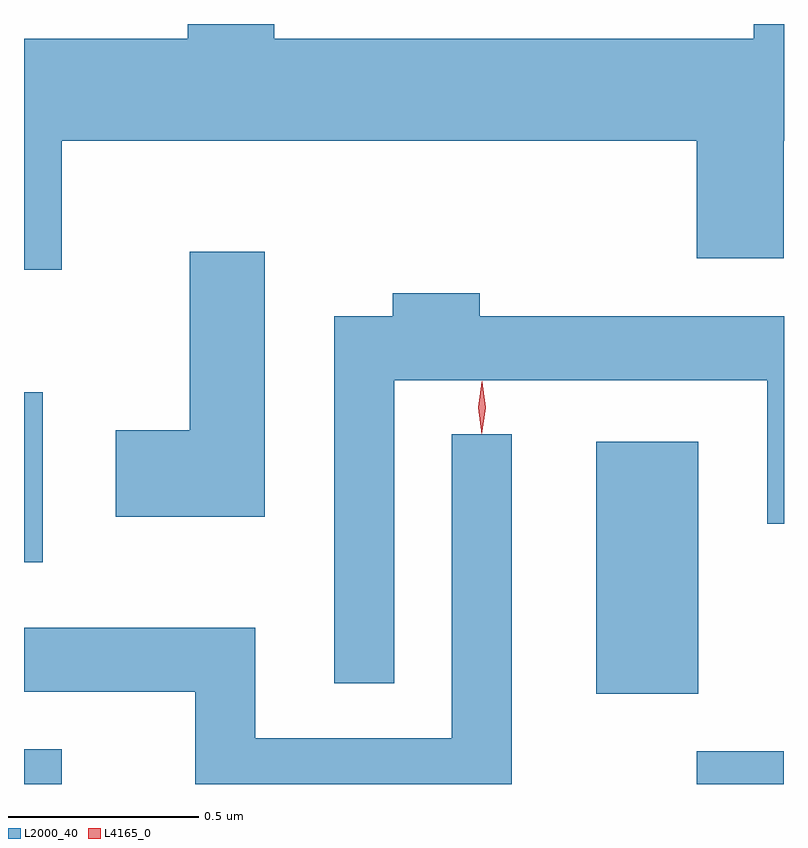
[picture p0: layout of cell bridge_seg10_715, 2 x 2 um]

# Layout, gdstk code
import gdstk
lib = gdstk.Library(unit=1e-6, precision=1e-09)
def R(c, l, rs):  # rectangles x0, y0, x1, y1
    for r in rs: c.add(gdstk.rectangle(r[:2], r[2:], *l))
def P(c, l, *ps):  # polygons
    for p in ps: c.add(gdstk.Polygon(p, *l))
L2000_40 = (2000, 40)
L4165_0 = (4165, 0)

bridge_seg10_715 = lib.new_cell('bridge_seg10_715')
R(bridge_seg10_715, L2000_40, [(1041.81,2132.203,1041.909,2132.294), (1043.581,2132.203,1043.809,2132.289), (1043.316,2132.441,1043.584,2133.104), (1041.81,2132.786,1041.859,2133.234)])
P(bridge_seg10_715, L2000_40, [(1041.909,2133.896),(1043.581,2133.896),(1043.581,2133.586),(1043.809,2133.586),(1043.809,2133.896),(1043.81,2133.896),(1043.81,2134.203),(1043.731,2134.203),(1043.731,2134.164),(1042.469,2134.164),(1042.469,2134.203),(1042.241,2134.203),(1042.241,2134.164),(1041.81,2134.164),(1041.81,2133.556),(1041.909,2133.556)],
  [(1042.444,2133.604),(1042.246,2133.604),(1042.246,2133.134),(1042.051,2133.134),(1042.051,2132.906),(1042.444,2132.906)],
  [(1042.784,2133.266),(1043.766,2133.266),(1043.766,2132.888),(1043.81,2132.888),(1043.81,2133.434),(1043.009,2133.434),(1043.009,2133.494),(1042.781,2133.494),(1042.781,2133.434),(1042.626,2133.434),(1042.626,2132.468),(1042.784,2132.468)],
  [(1043.094,2133.123),(1042.936,2133.123),(1042.936,2132.324),(1042.419,2132.324),(1042.419,2132.614),(1041.81,2132.614),(1041.81,2132.446),(1042.261,2132.446),(1042.261,2132.203),(1043.094,2132.203)])
P(bridge_seg10_715, L4165_0, [(1043.015,2133.127),(1043.014,2133.128),(1043.005,2133.194),(1043.014,2133.26),(1043.015,2133.261),(1043.015,2133.26),(1043.025,2133.194),(1043.015,2133.128)],
  [(1043.014,2133.124),(1043.005,2133.193),(1043.015,2133.262),(1043.016,2133.263),(1043.016,2133.262),(1043.025,2133.193),(1043.015,2133.124),(1043.015,2133.124)])

lib.write_gds('bridge_seg10_715.gds')
